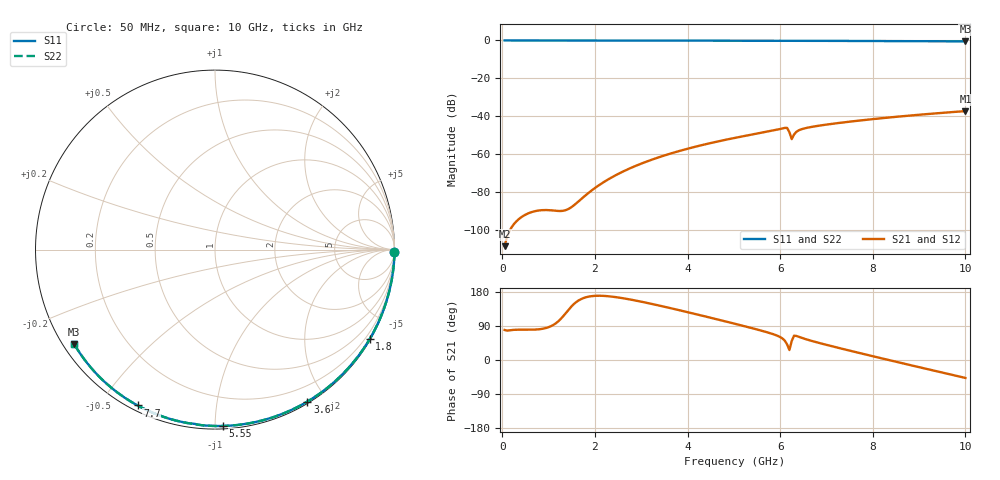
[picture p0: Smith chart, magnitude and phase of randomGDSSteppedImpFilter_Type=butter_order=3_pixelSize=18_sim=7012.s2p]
! freq	dB(S11)	phase(S11)	dB(S12)	phase(S12)
!  dB(S21)	phase(S21)	dB(S22)	phase(S22)
!S-par simulation data
#  GHz  S  DB  R 50
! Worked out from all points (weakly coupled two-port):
!   200 points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, 50 MHz to 10 GHz, reference 50 ohm
!   highest |S21| = -37.25 dB at 10 GHz (marker M1); lowest = -108.5 dB at 50 MHz (marker M2)
!   lowest |S11| = -0.5 dB at 10 GHz (marker M3), VSWR 35.25, Z = 1.55 - j15.2 ohm
!   |S11| at or under -10 dB: nowhere
!   |S22| runs from -0.5 to 0.0 dB; largest |S21 - S12| = 0
!   S11 on the Smith chart (normalised r, x): 50 MHz: open; 1.8 GHz: 0.03, -3.72; 3.6 GHz: 0.02, -1.78; 5.55 GHz: 0.02, -1.05; 7.7 GHz: 0.02, -0.62; 10 GHz: 0.03, -0.30
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0.05  -0.00 -0.9  -108.46 79.2  -108.46 79.2  -0.00 -0.9
0.9  -0.02 -15.2  -89.43 83.2  -89.43 83.2  -0.02 -15.2
1.75  -0.04 -29.3  -82.65 163.3  -82.65 163.3  -0.04 -29.3
1.8  -0.04 -30.1  -81.61 165.3  -81.61 165.3  -0.04 -30.1
1.9  -0.04 -31.7  -79.64 168.1  -79.64 168.1  -0.04 -31.7
2.25  -0.05 -37.4  -73.79 168.7  -73.79 168.7  -0.05 -37.4
2.65  -0.06 -43.8  -68.61 162.1  -68.61 162.1  -0.06 -43.8
3.4  -0.07 -55.6  -61.43 143.3  -61.43 143.3  -0.07 -55.6
3.6  -0.08 -58.7  -59.88 137.8  -59.88 137.8  -0.08 -58.7
4.3  -0.10 -69.2  -55.24 117.4  -55.24 117.4  -0.10 -69.2
5.05  -0.12 -80.2  -51.23 94.8  -51.23 94.8  -0.12 -80.2
5.55  -0.14 -87.4  -48.90 79.0  -48.90 79.0  -0.14 -87.3
6.15  -0.18 -95.8  -46.12 41.2  -46.12 41.2  -0.18 -95.8
6.2  -0.19 -96.5  -48.38 26.3  -48.38 26.3  -0.19 -96.4
6.25  -0.20 -97.0  -52.01 50.3  -52.01 50.3  -0.20 -97.0
6.3  -0.19 -97.7  -49.58 64.1  -49.58 64.1  -0.19 -97.7
6.35  -0.19 -98.4  -48.17 63.5  -48.17 63.5  -0.19 -98.4
6.4  -0.19 -99.1  -47.40 61.3  -47.40 61.3  -0.19 -99.1
6.7  -0.20 -103.2  -45.49 49.7  -45.49 49.7  -0.20 -103.1
7.7  -0.27 -116.4  -42.26 18.8  -42.26 18.8  -0.27 -116.4
8.35  -0.32 -124.9  -40.62 -0.2  -40.62 -0.2  -0.32 -124.9
10  -0.49 -146.1  -37.25 -47.3  -37.25 -47.3  -0.49 -146.0
